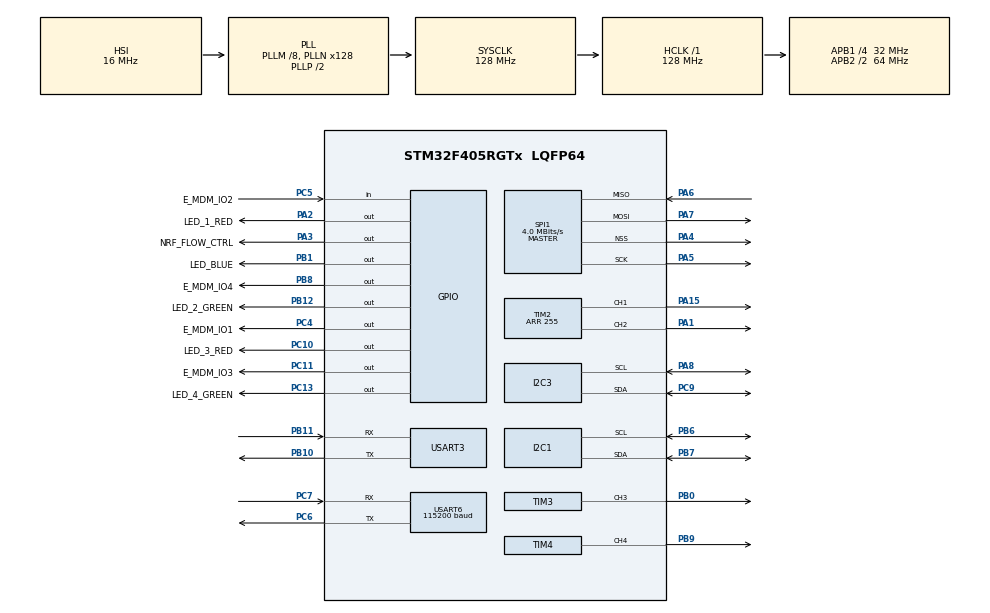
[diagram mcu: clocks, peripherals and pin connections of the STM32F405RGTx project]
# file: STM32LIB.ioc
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Dma.I2C3_RX.1.Direction=DMA_PERIPH_TO_MEMORY
Dma.I2C3_RX.1.FIFOMode=DMA_FIFOMODE_DISABLE
Dma.I2C3_RX.1.Instance=DMA1_Stream2
Dma.I2C3_RX.1.MemDataAlignment=DMA_MDATAALIGN_BYTE
Dma.I2C3_RX.1.MemInc=DMA_MINC_ENABLE
Dma.I2C3_RX.1.Mode=DMA_NORMAL
Dma.I2C3_RX.1.PeriphDataAlignment=DMA_PDATAALIGN_BYTE
Dma.I2C3_RX.1.PeriphInc=DMA_PINC_DISABLE
Dma.I2C3_RX.1.Priority=DMA_PRIORITY_LOW
Dma.I2C3_TX.0.Direction=DMA_MEMORY_TO_PERIPH
Dma.I2C3_TX.0.FIFOMode=DMA_FIFOMODE_DISABLE
Dma.I2C3_TX.0.Instance=DMA1_Stream4
Dma.I2C3_TX.0.MemDataAlignment=DMA_MDATAALIGN_BYTE
Dma.I2C3_TX.0.MemInc=DMA_MINC_ENABLE
Dma.I2C3_TX.0.Mode=DMA_NORMAL
Dma.I2C3_TX.0.PeriphDataAlignment=DMA_PDATAALIGN_BYTE
Dma.I2C3_TX.0.PeriphInc=DMA_PINC_DISABLE
Dma.I2C3_TX.0.Priority=DMA_PRIORITY_LOW
Dma.Request0=I2C3_TX
Dma.Request1=I2C3_RX
I2C3.GeneralCallMode=I2C_GENERALCALL_DISABLE
I2C3.OwnAddress=0
Mcu.Family=STM32F4
Mcu.Name=STM32F405RGTx
Mcu.Package=LQFP64
NVIC.DMA1_Stream2_IRQn=true\:0\:0\:false\:false\:true\:false\:true
NVIC.DMA1_Stream4_IRQn=true\:0\:0\:false\:false\:true\:false\:true
NVIC.PriorityGroup=NVIC_PRIORITYGROUP_4
NVIC.USART3_IRQn=true\:4\:0\:true\:false\:true\:true\:true
NVIC.USART6_IRQn=true\:5\:0\:true\:false\:true\:true\:true
PA1.Signal=S_TIM2_CH2
PA13.Mode=Trace_Asynchronous_SW
PA13.Signal=SYS_JTMS-SWDIO
PA14.Mode=Trace_Asynchronous_SW
PA14.Signal=SYS_JTCK-SWCLK
PA15.Signal=S_TIM2_CH1_ETR
PA2.GPIO_Label=LED_1_RED
PA2.GPIO_PuPd=GPIO_PULLDOWN
PA2.PinState=GPIO_PIN_SET
PA2.Signal=GPIO_Output
PA3.GPIO_Label=NRF_FLOW_CTRL
PA3.Signal=GPIO_Output
PA4.Mode=NSS_Signal_Hard_Output
PA4.Signal=SPI1_NSS
PA5.Mode=Full_Duplex_Master
PA5.Signal=SPI1_SCK
PA6.Mode=Full_Duplex_Master
PA6.Signal=SPI1_MISO
PA7.Mode=Full_Duplex_Master
PA7.Signal=SPI1_MOSI
PA8.Mode=I2C
PA8.Signal=I2C3_SCL
PB0.Signal=S_TIM3_CH3
PB1.GPIO_Label=LED_BLUE
PB1.GPIO_PuPd=GPIO_PULLDOWN
PB1.PinState=GPIO_PIN_RESET
PB1.Signal=GPIO_Output
PB10.Mode=Asynchronous
PB10.Signal=USART3_TX
PB11.Mode=Asynchronous
PB11.Signal=USART3_RX
PB12.GPIO_Label=LED_2_GREEN
PB12.GPIO_ModeDefaultOutputPP=GPIO_MODE_OUTPUT_PP
PB12.GPIO_PuPd=GPIO_PULLDOWN
PB12.PinState=GPIO_PIN_SET
PB12.Signal=GPIO_Output
PB3.Mode=Trace_Asynchronous_SW
PB3.Signal=SYS_JTDO-SWO
PB6.Mode=I2C
PB6.Signal=I2C1_SCL
PB7.Mode=I2C
PB7.Signal=I2C1_SDA
PB8.GPIO_Label=E_MDM_IO4
PB8.Signal=GPIO_Output
PB9.Signal=S_TIM4_CH4
PC10.GPIO_Label=LED_3_RED
PC10.GPIO_PuPd=GPIO_PULLDOWN
PC10.PinState=GPIO_PIN_SET
PC10.Signal=GPIO_Output
PC11.GPIO_Label=E_MDM_IO3
PC11.Signal=GPIO_Output
PC13-ANTI_TAMP.GPIO_Label=LED_4_GREEN
PC13-ANTI_TAMP.GPIO_PuPd=GPIO_PULLDOWN
PC13-ANTI_TAMP.PinState=GPIO_PIN_SET
PC13-ANTI_TAMP.Signal=GPIO_Output
PC4.GPIO_Label=E_MDM_IO1
PC4.Signal=GPIO_Output
PC5.GPIO_Label=E_MDM_IO2
PC5.Signal=GPIO_Input
PC6.Mode=Asynchronous
PC6.Signal=USART6_TX
PC7.Mode=Asynchronous
PC7.Signal=USART6_RX
PC9.Mode=I2C
PC9.Signal=I2C3_SDA
PH0-OSC_IN.Mode=HSE-External-Oscillator
PH0-OSC_IN.Signal=RCC_OSC_IN
PH1-OSC_OUT.Mode=HSE-External-Oscillator
PH1-OSC_OUT.Signal=RCC_OSC_OUT
ProjectManager.HeapSize=0x200
ProjectManager.StackSize=0x400
ProjectManager.TargetToolchain=MDK-ARM V5.27
RCC.48MHZClocksFreq_Value=64000000
RCC.AHBFreq_Value=128000000
RCC.APB1CLKDivider=RCC_HCLK_DIV4
RCC.APB1Freq_Value=32000000
RCC.APB1TimFreq_Value=64000000
RCC.APB2CLKDivider=RCC_HCLK_DIV2
RCC.APB2Freq_Value=64000000
RCC.APB2TimFreq_Value=128000000
RCC.CortexFreq_Value=128000000
RCC.HCLKFreq_Value=128000000
RCC.HSE_VALUE=8000000
RCC.HSI_VALUE=16000000
RCC.LSE_VALUE=32768
RCC.PLLM=8
RCC.PLLN=128
RCC.SYSCLKFreq_VALUE=128000000
RCC.SYSCLKSource=RCC_SYSCLKSOURCE_PLLCLK
RCC.VCOOutputFreq_Value=256000000
RCC.VDD_VALUE=3
SH.S_TIM2_CH1_ETR.0=TIM2_CH1,PWM Generation1 CH1
SH.S_TIM2_CH2.0=TIM2_CH2,PWM Generation2 CH2
SH.S_TIM3_CH3.0=TIM3_CH3,PWM Generation3 CH3
SH.S_TIM4_CH4.0=TIM4_CH4,PWM Generation4 CH4
SPI1.BaudRatePrescaler=SPI_BAUDRATEPRESCALER_16
SPI1.CalculateBaudRate=4.0 MBits/s
SPI1.Direction=SPI_DIRECTION_2LINES
SPI1.Mode=SPI_MODE_MASTER
SPI1.VirtualNSS=VM_NSSHARD
SPI1.VirtualType=VM_MASTER
TIM2.Channel-PWM\ Generation1\ CH1=TIM_CHANNEL_1
TIM2.Channel-PWM\ Generation2\ CH2=TIM_CHANNEL_2
TIM2.Period=255
TIM2.Pulse-PWM\ Generation1\ CH1=0
TIM2.Pulse-PWM\ Generation2\ CH2=0
TIM3.Channel-PWM\ Generation3\ CH3=TIM_CHANNEL_3
TIM3.Period=255
TIM3.Pulse-PWM\ Generation3\ CH3=0
TIM4.Channel-PWM\ Generation4\ CH4=TIM_CHANNEL_4
TIM4.Period=255
TIM4.Pulse-PWM\ Generation4\ CH4=0
USART3.VirtualMode=VM_ASYNC
USART6.BaudRate=115200
USART6.Parity=PARITY_NONE
USART6.VirtualMode=VM_ASYNC
board=custom

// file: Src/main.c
/* USER CODE BEGIN Header */
/**
  ******************************************************************************
  * @file           : main.c
  * @brief          : Main program body
  ******************************************************************************
  * @attention
  *
  * <h2><center>&copy; Copyright (c) 2020 STMicroelectronics.
  * All rights reserved.</center></h2>
  *
  * This software component is licensed by ST under BSD 3-Clause license,
  * the "License"; You may not use this file except in compliance with the
  * License. You may obtain a copy of the License at:
  *                        opensource.org/licenses/BSD-3-Clause
  *
  ******************************************************************************
  */
/* USER CODE END Header */

#include "main.h"
#include "dma.h"
#include "gpio.h"
#include "i2c.h"
#include "spi.h"
#include "tim.h"
#include "usart.h"

/* USER CODE BEGIN Includes */
#include <math.h>
#include <stdio.h>
#include <string.h>

#include "SEGGER_RTT.h"
#include "num.h"
#include "uart_syslink.h"

#include "LED_sequence.h"
#include "controller.h"
#include "motor_pwr_out.h"
#include "sensor.h"
#include "stateEstimator.h"

#include "LEDflow.h"
#include "Zrange.h"
#include "vl53l0x_api.h"
#include "vl53l0x_platform.h"

#include "modemExp.h"
/* USER CODE END Includes */

/* USER CODE BEGIN PD */
#define BMI088_ACC_ADDRESS 0x18 << 1
#define BMI088_GYR_ADDRESS 0x69 << 1
#define BMP388_ADDRESS 0x77 << 1
#define LOW_BATT_THRESHOLD 3.55
/* USER CODE END PD */

/* USER CODE BEGIN PV */
int globaltest;

float AXmg = 0;
float AYmg = 0;
float AZmg = 0;

uint8_t uartData[64] = {};
extern syslinkPacket_t syslinkPacket;
uint8_t uartDataReceived = 0;
setpoint_t cmdsetpoint;

extern I2C_HandleTypeDef hi2c3;

VL53L0X_Dev_t vl53l0C;
VL53L0X_DeviceInfo_t vl53l0cDeviceInfo;
int test[32] = {0};
VL53L0X_RangingMeasurementData_t testdata;
uint32_t refSpadCount;
uint8_t isApertureSpads;
uint8_t VhvSettings;
uint8_t PhaseCal;

//for syslink float data
union {
	uint8_t bytes[4];
	float afloat;
} bytes2afloat;

float Vbatt = 0;

//current drone operating mode
static enum OpMode {
	StartUp,
	TestMode1,
	ChargingMode,
	NormalMode
} currentOpMode = StartUp;

/* USER CODE END PV */

void SystemClock_Config(void);
/* USER CODE BEGIN PFP */

void Stabilizer_task(uint32_t taskperiod)
{
	static uint32_t taskStartDelay = 0;
	static uint32_t I2C3_tickcount = 0;
	static uint32_t tick = 0;
	if (HAL_GetTick() - I2C3_tickcount >= taskperiod) {

		sensorDataUpdate(); //1000Hz

		stateEstimatorUpdate(tick); //250Hz

		stateControllerUpdate(tick); //attitude 250Hz, rate 500Hz

		if (HAL_GetTick() - taskStartDelay > 2000) //delay powerout for stateEstimate ajust.
		{
			powerDistributionUpdate();
		}

		tick++;

		I2C3_tickcount = HAL_GetTick();
	}
}

void Syslink_task(uint32_t taskperiod) //TODO: Optimize this. Can only read one packet per taskperiod, other packages arrived within the period time is discarded.
{
	static uint32_t task_tickcount = 0;
	static uint32_t cmd_timeout_tickcount = 0;
	if (HAL_GetTick() - task_tickcount > taskperiod) {
		if (uartDataReceived) {
			if (syslinkPacket.type == 0x01) {
				if (currentOpMode != NormalMode) {
					currentOpMode = NormalMode;
				}
				SEGGER_RTT_printf(0, "%hu,%hu,%hu,%hu\n", syslinkPacket.data[0], syslinkPacket.data[1], syslinkPacket.data[2], syslinkPacket.data[3]);
				cmdsetpoint.thrust = constrain((syslinkPacket.data[3] - 120) * 2, 1, 255);
				float p = syslinkPacket.data[1];
				float r = syslinkPacket.data[0];
				float y = syslinkPacket.data[2];
				cmdsetpoint.attitude.pitch = (p - 123) / 3 * 1;
				cmdsetpoint.attitude.roll = (r - 122) / 3 * 1;
				cmdsetpoint.attitudeRate.yaw = -(y - 122) * 2;
				cmdsetpoint.attitude.pitch = deadband(cmdsetpoint.attitude.pitch, 2);
				cmdsetpoint.attitude.roll = deadband(cmdsetpoint.attitude.roll, 2);
				cmdsetpoint.attitudeRate.yaw = deadband(cmdsetpoint.attitudeRate.yaw, 5);
				//SEGGER_RTT_printf(0, "pitch:%-5d, roll:%-5d\n", (int)cmdsetpoint.attitude.pitch, (int)cmdsetpoint.attitude.roll);

				//cmdsetpoint.thrust = 0; //disable motor for testing.

				cmdsetpoint.velocity.z = constrain(((float)syslinkPacket.data[3] - 120) / 130 * 0.7, -1, 1);
				cmdsetpoint.velocity.z = deadband(cmdsetpoint.velocity.z, 0.1f);
				cmdsetpoint.velocity.z = 0; //disable for testing
				//SEGGER_RTT_printf(0, "set.vZ:%d cm/s\n", (int)(cmdsetpoint.velocity.z * 100));

				cmdsetpoint.position.z = constrain(((float)syslinkPacket.data[3] - 120) / 100, 0, 1.5);
				cmdsetpoint.position.z = 0.8;
				//SEGGER_RTT_printf(0, "\n\nset.Z:%d cm/s\n", (int)(cmdsetpoint.position.z * 100));

				cmdSetPoint(&cmdsetpoint);

				//shutdown motors timer
				cmd_timeout_tickcount = HAL_GetTick();
			} else if (syslinkPacket.type == 0x03) { //Vbatt
				for (int i = 0; i < 4; i++)
					bytes2afloat.bytes[i] = syslinkPacket.data[i];
				Vbatt = bytes2afloat.afloat;

				//SEGGER_RTT_printf(0, "%hu,%hu,%hu,%hu\n", syslinkPacket.data[0], syslinkPacket.data[1], syslinkPacket.data[2], syslinkPacket.data[3]);
			} else if (syslinkPacket.type == 0x05) { //Charging Mode
				if (currentOpMode != ChargingMode) {
					currentOpMode = ChargingMode;

				}
			} else if (syslinkPacket.type == 0x06) {
				if (currentOpMode != NormalMode) {
					currentOpMode = NormalMode;
					LedSeqRun(FlyingRemoteCon);
				}
			}
			/* Clear packet container before able to recieve new packet */
			memset(&syslinkPacket, 0, sizeof(syslinkPacket));
			uartDataReceived = 0;
		}

		//If not getting control packet for more than 100ms, shutdown motors
		if (HAL_GetTick() - cmd_timeout_tickcount > 100) {
			cmdsetpoint.thrust = 0;
			cmdsetpoint.velocity.z = 0;
			cmdsetpoint.attitude.yaw = getYaw();
			cmdSetPoint(&cmdsetpoint);
		}
		task_tickcount = HAL_GetTick();
	}
}

void PM_task()
{
	static uint32_t tick = 0;
	if (HAL_GetTick() - tick >= 500) {
		if (Vbatt < 3.65) {
			if (CurrentLedSeq() != BatteryLow)
				LedSeqRun(BatteryLow);
		}
		tick = HAL_GetTick();
	}
}

void OperatingMode_task()
{

}

/* USER CODE END PFP */

int main(void)
{

	/* MCU Configuration--------------------------------------------------------*/

	/* Reset of all peripherals, Initializes the Flash interface and the Systick. */
	HAL_Init();

	/* USER CODE BEGIN Init */
	SEGGER_RTT_printf(0, "HAL Init [OK]\n");
	/* USER CODE END Init */

	/* Configure the system clock */
	SystemClock_Config();

	/* USER CODE BEGIN SysInit */
	SEGGER_RTT_printf(0, "SystemClock Config [OK]\n");
	/* USER CODE END SysInit */

	/* Initialize all configured peripherals */
	MX_GPIO_Init();
	MX_DMA_Init();
	MX_TIM2_Init();
	MX_TIM3_Init();
	MX_TIM4_Init();
	MX_I2C3_Init();
	MX_USART6_UART_Init();
	MX_I2C1_Init();
	MX_SPI1_Init();
	MX_USART3_UART_Init();
	/* USER CODE BEGIN 2 */
	SEGGER_RTT_printf(0, "Peripheral Init [OK]\n");

	bool pass = true;
	LED_Init();
	uartsyslinkInit();
	sensorsInit();
	ControllerInit();
	MotorPowerInit();
	//LED_1_RED_GPIO_Port->OTYPER |= GPIO_OTYPER_OT2;
	//    while (1)
	//    {
	//    HAL_GPIO_WritePin(LED_1_RED_GPIO_Port,LED_1_RED_Pin,GPIO_PIN_SET);
	//    HAL_Delay(500);
	//    HAL_GPIO_WritePin(LED_1_RED_GPIO_Port,LED_1_RED_Pin,GPIO_PIN_RESET);
	//    HAL_Delay(500);
	//    }
	int8_t status;
	vl53l0C.I2cDevAddr = 0x52;
	vl53l0C.comms_type = I2C;
	vl53l0C.comms_speed_khz = 100;
	//for some reason "typedef VL53L0X_Dev_t* VL53L0X_DEV" object doesn't pass value correctly
	//use "VL53L0X_Dev_t" object instead
	status = VL53L0X_DataInit(&vl53l0C);
	if (status == 0)
		SEGGER_RTT_printf(0, "VL53L0C Init [OK]\n", status);
	else
		SEGGER_RTT_printf(0, "VL53L0C Init [FAILED] \n", status);
	status = VL53L0X_GetDeviceInfo(&vl53l0C, &vl53l0cDeviceInfo);
	status = VL53L0X_StaticInit(&vl53l0C);

	status = VL53L0X_PerformRefSpadManagement(&vl53l0C, &refSpadCount, &isApertureSpads);

	status = VL53L0X_PerformRefCalibration(&vl53l0C, &VhvSettings, &PhaseCal);

	status = VL53L0X_SetDeviceMode(&vl53l0C, VL53L0X_DEVICEMODE_CONTINUOUS_RANGING);
	//SEGGER_RTT_printf(0, "status = %d \n", status);

	status = VL53L0x_configSensor(&vl53l0C, VL53L0X_SENSE_LONG_RANGE);
	//SEGGER_RTT_printf(0, "status = %d \n", status);

	uint32_t measurementtime = HAL_GetTick();
	status = VL53L0X_PerformSingleRangingMeasurement(&vl53l0C, &testdata);
	measurementtime = HAL_GetTick() - measurementtime;
	if (status == 0) {
		SEGGER_RTT_printf(0, "Measured Z range once: %d mm, in %d ms \n", testdata.RangeMilliMeter, measurementtime);
		SEGGER_RTT_printf(0, "status = %d \n", status);
	} else {
		SEGGER_RTT_printf(0, "Z range measurement [Failed] \n", status);
	}

	if (status == 0) {
		status = VL53L0X_SetDeviceMode(&vl53l0C, VL53L0X_DEVICEMODE_CONTINUOUS_RANGING);
		SEGGER_RTT_printf(0, "status = %d \n", status);

		status = VL53L0X_StartMeasurement(&vl53l0C);
		SEGGER_RTT_printf(0, "status = %d \n", status);
	}
	uint8_t newdataRdy = 0;
	uint8_t newdatatime = HAL_GetTick();
	while (1) //VL53L0x test loop.
	{
		break;
		status = VL53L0X_GetMeasurementDataReady(&vl53l0C, &newdataRdy);
		if (newdataRdy && status == 0) {
			newdataRdy = 0;
			newdatatime = HAL_GetTick() - newdatatime;
			VL53L0X_GetRangingMeasurementData(&vl53l0C, &testdata);
			SEGGER_RTT_printf(0, "Range=%d mm, in %d ms ", testdata.RangeMilliMeter, newdatatime);
			if (testdata.RangeStatus != 0)
				SEGGER_RTT_printf(0, " Invalid data");
			SEGGER_RTT_printf(0, "\n");
			newdatatime = HAL_GetTick();
			VL53L0X_ClearInterruptMask(&vl53l0C, 0);
		}
	}

	//lp55231_Init();

	//ModemInit();

	pass &= LEDTest();
	pass &= uartsyslinkTest();
	pass &= sensorInitTest();
	pass &= controllerTest();
	pass &= MotorPowerTest();

	/* handle specific failed tests */
	if (pass != true) {
		if (sensorInitTest() == false) {
			pass &= sensor_I2C_reInit();
		}
		//test again after handling failed tests
		pass = true;
		pass &= LEDTest();
		pass &= uartsyslinkTest();
		pass &= sensorInitTest();
		pass &= controllerTest();
		pass &= MotorPowerTest();
	}

	//PM init
	while (1) {

		if (uartDataReceived) {
			if (syslinkPacket.type == 0x03) {
				for (int i = 0; i < 4; i++)
					bytes2afloat.bytes[i] = syslinkPacket.data[i];
				Vbatt = bytes2afloat.afloat;
				SEGGER_RTT_printf(0, "Init Vbatt = %d mV\n", (int)(Vbatt * 1000));
			}
			if (syslinkPacket.type == 0x04 ||
			    syslinkPacket.type == 0x05 ||
			    syslinkPacket.type == 0x06) {
				if (syslinkPacket.type == 0x04)
					currentOpMode = TestMode1;
				else if (syslinkPacket.type == 0x05)
					currentOpMode = ChargingMode;
				else if (syslinkPacket.type == 0x06)
					currentOpMode = NormalMode;
			}
			uartDataReceived = 0;
		}

		if (currentOpMode == NormalMode && Vbatt != 0) {
			if (Vbatt < LOW_BATT_THRESHOLD) {
				if (CurrentLedSeq() != BatteryLow) {
					LedSeqRun(BatteryLow);
					SEGGER_RTT_printf(0, "Battery LOW [ERROR]\n");
				}
			} else {
				break;
			}
		} else if (currentOpMode == ChargingMode) {
			if (CurrentLedSeq() != Charging)
				LedSeqRun(Charging);
		}
		LED_task();
	}

	//TODO:test, don't do sensor test when no battery. usb power can't drive opticalflow board, causing sensor reading problem
	if (sensorInitTest()) {
		SEGGER_RTT_printf(0, "Calibrating senors...\n");
		LedSeqRun(IMUcalibrating);
		uint32_t timer = HAL_GetTick();
		while (sensorCalibTest() != true) {
			LED_task();
			sensorDataUpdate();
			if (HAL_GetTick() - timer > 15000) {
				SEGGER_RTT_printf(0, "Calibrating senors timeout [ERROR]\n");
				break;
			}
		}
	}
	pass &= sensorCalibTest();

	if (pass != true) {
		SEGGER_RTT_printf(0, "System init failed [ERROR]\n");
		LedSeqRun(SystemInitFailed);
		while (1) {
			LED_task();
		}
	}
	SEGGER_RTT_printf(0, "Calibrated sensors [OK]\n");
	SEGGER_RTT_printf(0, "System Initialized [OK]\n");
	LedSeqRun(InitSuccess);
	LedSeqRun(FlyingRemoteCon);

	/* USER CODE END 2 */

	/* Infinite loop */
	/* USER CODE BEGIN WHILE */
	while (1) {
		Stabilizer_task(1); //1000Hz

		Syslink_task(1); //1000Hz

		LED_task();

		PM_task();

		OperatingMode_task();
		/* USER CODE END WHILE */

	}
}

void SystemClock_Config(void)
{
	RCC_OscInitTypeDef RCC_OscInitStruct = {0};
	RCC_ClkInitTypeDef RCC_ClkInitStruct = {0};

	/** Configure the main internal regulator output voltage
  */
	__HAL_RCC_PWR_CLK_ENABLE();
	__HAL_PWR_VOLTAGESCALING_CONFIG(PWR_REGULATOR_VOLTAGE_SCALE1);
	/** Initializes the CPU, AHB and APB busses clocks
  */
	RCC_OscInitStruct.OscillatorType = RCC_OSCILLATORTYPE_HSI;
	RCC_OscInitStruct.HSIState = RCC_HSI_ON;
	RCC_OscInitStruct.HSICalibrationValue = RCC_HSICALIBRATION_DEFAULT;
	RCC_OscInitStruct.PLL.PLLState = RCC_PLL_ON;
	RCC_OscInitStruct.PLL.PLLSource = RCC_PLLSOURCE_HSI;
	RCC_OscInitStruct.PLL.PLLM = 8;
	RCC_OscInitStruct.PLL.PLLN = 128;
	RCC_OscInitStruct.PLL.PLLP = RCC_PLLP_DIV2;
	RCC_OscInitStruct.PLL.PLLQ = 4;
	if (HAL_RCC_OscConfig(&RCC_OscInitStruct) != HAL_OK) {
		Error_Handler();
	}
	/** Initializes the CPU, AHB and APB busses clocks
  */
	RCC_ClkInitStruct.ClockType = RCC_CLOCKTYPE_HCLK | RCC_CLOCKTYPE_SYSCLK | RCC_CLOCKTYPE_PCLK1 | RCC_CLOCKTYPE_PCLK2;
	RCC_ClkInitStruct.SYSCLKSource = RCC_SYSCLKSOURCE_PLLCLK;
	RCC_ClkInitStruct.AHBCLKDivider = RCC_SYSCLK_DIV1;
	RCC_ClkInitStruct.APB1CLKDivider = RCC_HCLK_DIV4;
	RCC_ClkInitStruct.APB2CLKDivider = RCC_HCLK_DIV2;

	if (HAL_RCC_ClockConfig(&RCC_ClkInitStruct, FLASH_LATENCY_4) != HAL_OK) {
		Error_Handler();
	}
}

void Error_Handler(void)
{
	/* USER CODE BEGIN Error_Handler_Debug */
	/* User can add his own implementation to report the HAL error return state */
	SEGGER_RTT_printf(0, "ERROR_HANDLER!\n");
	while (1)
		;
	/* USER CODE END Error_Handler_Debug */
}

#ifdef USE_FULL_ASSERT
/**
  * @brief  Reports the name of the source file and the source line number
  *         where the assert_param error has occurred.
  * @param  file: pointer to the source file name
  * @param  line: assert_param error line source number
  * @retval None
  */
void assert_failed(uint8_t *file, uint32_t line)
{
	/* USER CODE BEGIN 6 */
	/* User can add his own implementation to report the file name and line number,
     tex: SEGGER_RTT_printf(0, "Wrong parameters value: file %s on line %d\r\n", file, line) */
	/* USER CODE END 6 */
}
#endif /* USE_FULL_ASSERT */

/************************ (C) COPYRIGHT STMicroelectronics *****END OF FILE****/
